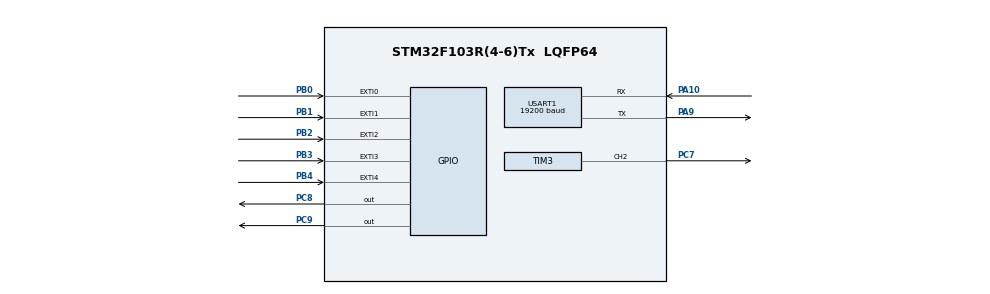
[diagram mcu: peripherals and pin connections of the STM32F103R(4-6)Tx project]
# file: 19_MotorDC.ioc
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Mcu.Family=STM32F1
Mcu.Name=STM32F103R(4-6)Tx
Mcu.Package=LQFP64
NVIC.EXTI0_IRQn=true\:0\:0\:false\:false\:true\:true\:true\:true
NVIC.EXTI1_IRQn=true\:0\:0\:false\:false\:true\:true\:true\:true
NVIC.EXTI2_IRQn=true\:0\:0\:false\:false\:true\:true\:true\:true
NVIC.EXTI3_IRQn=true\:0\:0\:false\:false\:true\:true\:true\:true
NVIC.EXTI4_IRQn=true\:0\:0\:false\:false\:true\:true\:true\:true
NVIC.PriorityGroup=NVIC_PRIORITYGROUP_4
NVIC.TIM3_IRQn=true\:0\:0\:false\:false\:true\:true\:true\:true
NVIC.USART1_IRQn=true\:0\:0\:false\:false\:true\:true\:true\:true
PA10.Mode=Asynchronous
PA10.Signal=USART1_RX
PA9.Mode=Asynchronous
PA9.Signal=USART1_TX
PB0.Signal=GPXTI0
PB1.Signal=GPXTI1
PB2.Signal=GPXTI2
PB3.Signal=GPXTI3
PB4.Signal=GPXTI4
PC7.Signal=S_TIM3_CH2
PC8.GPIO_ModeDefaultOutputPP=GPIO_MODE_OUTPUT_OD
PC8.GPIO_PuPd=GPIO_NOPULL
PC8.Signal=GPIO_Output
PC9.GPIO_ModeDefaultOutputPP=GPIO_MODE_OUTPUT_OD
PC9.GPIO_PuPd=GPIO_NOPULL
PC9.Signal=GPIO_Output
ProjectManager.HeapSize=0x200
ProjectManager.StackSize=0x400
ProjectManager.TargetToolchain=MDK-ARM V5.32
RCC.APB1Freq_Value=8000000
RCC.APB2Freq_Value=8000000
SH.S_TIM3_CH2.0=TIM3_CH2,PWM Generation2 CH2
TIM3.Channel-PWM\ Generation2\ CH2=TIM_CHANNEL_2
TIM3.OCPolarity_2=TIM_OCPOLARITY_LOW
TIM3.Period=99
TIM3.Prescaler=79
USART1.BaudRate=19200
USART1.Mode=MODE_TX_RX
USART1.VirtualMode=VM_ASYNC
VP_SYS_VS_ND.Mode=No_Debug
VP_TIM3_VS_ClockSourceINT.Mode=Internal
board=custom

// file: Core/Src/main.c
/* USER CODE BEGIN Header */
/**
  ******************************************************************************
  * @file           : main.c
  * @brief          : Main program body
  ******************************************************************************
  * @attention
  *
  * Copyright (c) 2022 STMicroelectronics.
  * All rights reserved.
  *
  * This software is licensed under terms that can be found in the LICENSE file
  * in the root directory of this software component.
  * If no LICENSE file comes with this software, it is provided AS-IS.
  *
  ******************************************************************************
  */
/* USER CODE END Header */
#include "main.h"
#include "tim.h"
#include "usart.h"
#include "gpio.h"

/* USER CODE BEGIN Includes */
#include "stdio.h"		//引入标准输入输出库头文件
/* USER CODE END Includes */

/* USER CODE BEGIN PV */
uint16_t cmpv = 80;		//捕获比较值，即CRR2的设定值
uint8_t rf = 0;		//中断标志位
/* USER CODE END PV */

void SystemClock_Config(void);

int main(void)
{
  /* USER CODE BEGIN 1 */
	char str[4];		//用于存放CRR2值转换的字符串
  /* USER CODE END 1 */

  /* MCU Configuration--------------------------------------------------------*/

  /* Reset of all peripherals, Initializes the Flash interface and the Systick. */
  HAL_Init();

  /* Configure the system clock */
  SystemClock_Config();

  /* Initialize all configured peripherals */
  MX_GPIO_Init();
  MX_TIM3_Init();
  MX_USART1_UART_Init();
  /* USER CODE BEGIN 2 */
	HAL_TIM_PWM_Start(&htim3, TIM_CHANNEL_2);		//定时器3运行并在通道2输出PWM函数
	__HAL_TIM_SET_COMPARE(&htim3, TIM_CHANNEL_2, cmpv);		//给定时器3设定通道2的捕获比较寄存器值（CRR2）
	HAL_GPIO_WritePin(GPIOC, GPIO_PIN_8, GPIO_PIN_RESET);
	HAL_GPIO_WritePin(GPIOC, GPIO_PIN_9, GPIO_PIN_RESET);
  /* USER CODE END 2 */

  /* Infinite loop */
  /* USER CODE BEGIN WHILE */
  while (1)
  {
		if(rf == 1)
		{
			HAL_UART_Transmit(&huart1, (uint8_t *)&"PWM:", 4, 4);		//串口发送字符串（PWM比较寄存器值，值越大转速越快）
			sprintf(str, "%d", cmpv);
			HAL_UART_Transmit(&huart1, (uint8_t *)str, 3, 3);
			HAL_UART_Transmit(&huart1, (uint8_t *)&"\n\r", 2, 2);
			rf = 0;		//标志位清零
		}
    /* USER CODE END WHILE */

  }
}

void SystemClock_Config(void)
{
  RCC_OscInitTypeDef RCC_OscInitStruct = {0};
  RCC_ClkInitTypeDef RCC_ClkInitStruct = {0};

  /** Initializes the RCC Oscillators according to the specified parameters
  * in the RCC_OscInitTypeDef structure.
  */
  RCC_OscInitStruct.OscillatorType = RCC_OSCILLATORTYPE_HSI;
  RCC_OscInitStruct.HSIState = RCC_HSI_ON;
  RCC_OscInitStruct.HSICalibrationValue = RCC_HSICALIBRATION_DEFAULT;
  RCC_OscInitStruct.PLL.PLLState = RCC_PLL_NONE;
  if (HAL_RCC_OscConfig(&RCC_OscInitStruct) != HAL_OK)
  {
    Error_Handler();
  }

  /** Initializes the CPU, AHB and APB buses clocks
  */
  RCC_ClkInitStruct.ClockType = RCC_CLOCKTYPE_HCLK|RCC_CLOCKTYPE_SYSCLK
                              |RCC_CLOCKTYPE_PCLK1|RCC_CLOCKTYPE_PCLK2;
  RCC_ClkInitStruct.SYSCLKSource = RCC_SYSCLKSOURCE_HSI;
  RCC_ClkInitStruct.AHBCLKDivider = RCC_SYSCLK_DIV1;
  RCC_ClkInitStruct.APB1CLKDivider = RCC_HCLK_DIV1;
  RCC_ClkInitStruct.APB2CLKDivider = RCC_HCLK_DIV1;

  if (HAL_RCC_ClockConfig(&RCC_ClkInitStruct, FLASH_LATENCY_0) != HAL_OK)
  {
    Error_Handler();
  }
}

/* USER CODE BEGIN 4 */
//外部中断回调函数
void HAL_GPIO_EXTI_Callback(uint16_t GPIO_Pin)
{
	if(GPIO_Pin == GPIO_PIN_0)		//正转按钮
	{
		HAL_GPIO_WritePin(GPIOC, GPIO_PIN_8, GPIO_PIN_SET);
		HAL_GPIO_WritePin(GPIOC, GPIO_PIN_9, GPIO_PIN_RESET);
		rf = 1;
	}
	else if(GPIO_Pin == GPIO_PIN_1)		//反转按钮
	{
		HAL_GPIO_WritePin(GPIOC, GPIO_PIN_8, GPIO_PIN_RESET);
		HAL_GPIO_WritePin(GPIOC, GPIO_PIN_9, GPIO_PIN_SET);
		rf = 1;
	}
	else if(GPIO_Pin == GPIO_PIN_2)		//停止按钮
	{
		HAL_GPIO_WritePin(GPIOC, GPIO_PIN_8|GPIO_PIN_9, GPIO_PIN_RESET);
	}
	else if(GPIO_Pin == GPIO_PIN_3)		//加速按钮（增加PWM信号波形占空比）
	{
		if(cmpv<100) cmpv+=10;
		__HAL_TIM_SET_COMPARE(&htim3, TIM_CHANNEL_2, cmpv);		//给定时器3设定通道2的捕获比较寄存器值（CRR2）
		rf = 1;
	}
	else if(GPIO_Pin == GPIO_PIN_4)		//减速按钮（减小PWM信号波形占空比）
	{
		if(cmpv>0) cmpv-=10;
		__HAL_TIM_SET_COMPARE(&htim3, TIM_CHANNEL_2, cmpv);		//给定时器3设定通道2的捕获比较寄存器值（CRR2）
		rf = 1;
	}
}
/* USER CODE END 4 */

void Error_Handler(void)
{
  __disable_irq();
  while (1)
  {
  }
}
